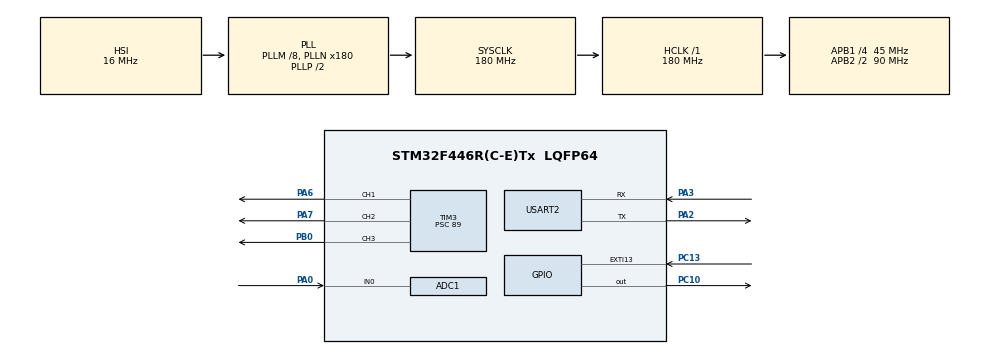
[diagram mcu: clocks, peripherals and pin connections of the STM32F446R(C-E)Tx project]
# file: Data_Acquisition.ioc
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ADC1.Channel-0\#ChannelRegularConversion=ADC_CHANNEL_0
ADC1.NbrOfConversionFlag=1
ADC1.Rank-0\#ChannelRegularConversion=1
ADC1.SamplingTime-0\#ChannelRegularConversion=ADC_SAMPLETIME_3CYCLES
ADC1.master=1
Mcu.Family=STM32F4
Mcu.Name=STM32F446R(C-E)Tx
Mcu.Package=LQFP64
NVIC.EXTI15_10_IRQn=true\:0\:0\:false\:false\:true\:true\:true\:true
NVIC.PriorityGroup=NVIC_PRIORITYGROUP_4
NVIC.TIM2_IRQn=true\:0\:0\:false\:false\:true\:true\:true\:true
NVIC.USART2_IRQn=true\:0\:0\:false\:false\:true\:true\:true\:true
PA0-WKUP.Signal=ADCx_IN0
PA2.Mode=Asynchronous
PA2.Signal=USART2_TX
PA3.Mode=Asynchronous
PA3.Signal=USART2_RX
PA6.Signal=S_TIM3_CH1
PA7.Signal=S_TIM3_CH2
PB0.Signal=S_TIM3_CH3
PC10.GPIO_ModeDefaultOutputPP=GPIO_MODE_OUTPUT_OD
PC10.GPIO_PuPd=GPIO_PULLUP
PC10.Signal=GPIO_Output
PC13.GPIO_ModeDefaultEXTI=GPIO_MODE_IT_FALLING
PC13.GPIO_PuPd=GPIO_PULLUP
PC13.Signal=GPXTI13
ProjectManager.HeapSize=0x200
ProjectManager.StackSize=0x400
ProjectManager.TargetToolchain=STM32CubeIDE
RCC.AHBFreq_Value=180000000
RCC.APB1CLKDivider=RCC_HCLK_DIV4
RCC.APB1Freq_Value=45000000
RCC.APB1TimFreq_Value=90000000
RCC.APB2CLKDivider=RCC_HCLK_DIV2
RCC.APB2Freq_Value=90000000
RCC.APB2TimFreq_Value=180000000
RCC.CortexFreq_Value=180000000
RCC.HCLKFreq_Value=180000000
RCC.PLLM=8
RCC.PLLN=180
RCC.SYSCLKFreq_VALUE=180000000
RCC.SYSCLKSource=RCC_SYSCLKSOURCE_PLLCLK
RCC.USBFreq_Value=180000000
RCC.VCOOutputFreq_Value=360000000
SH.ADCx_IN0.0=ADC1_IN0,IN0
SH.S_TIM3_CH1.0=TIM3_CH1,PWM Generation1 CH1
SH.S_TIM3_CH2.0=TIM3_CH2,PWM Generation2 CH2
SH.S_TIM3_CH3.0=TIM3_CH3,PWM Generation3 CH3
TIM2.Period=9999
TIM2.Prescaler=8999
TIM3.Channel-PWM\ Generation1\ CH1=TIM_CHANNEL_1
TIM3.Channel-PWM\ Generation2\ CH2=TIM_CHANNEL_2
TIM3.Channel-PWM\ Generation3\ CH3=TIM_CHANNEL_3
TIM3.Prescaler=89
TIM5.Prescaler=89
USART2.VirtualMode=VM_ASYNC
VP_TIM2_VS_ClockSourceINT.Mode=Internal
VP_TIM3_VS_ClockSourceINT.Mode=Internal
VP_TIM5_VS_ClockSourceINT.Mode=Internal
board=custom

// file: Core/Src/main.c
/* USER CODE BEGIN Header */
/**
  ******************************************************************************
  * @file           : main.c
  * @brief          : Main program body
  ******************************************************************************
  * @attention
  *
  * Copyright (c) 2026 STMicroelectronics.
  * All rights reserved.
  *
  * This software is licensed under terms that can be found in the LICENSE file
  * in the root directory of this software component.
  * If no LICENSE file comes with this software, it is provided AS-IS.
  *
  ******************************************************************************
  */
/* USER CODE END Header */
#include "main.h"
#include "DHT11.h"
#include <stdio.h>
#include <string.h>

/* USER CODE BEGIN PTD */
//LED operating modes
typedef enum
{
	WHITE, RED, GREEN, BLUE
}LED_Mode;

volatile LED_Mode mode = WHITE;

const char *modeNames[] =
{
    "WHITE",
	"RED",
    "GREEN",
    "BLUE"
};

typedef enum
{
	LIGHT_MODE, TEMP_MODE
}System_Mode;

volatile System_Mode systemMode= LIGHT_MODE;

const char *systemName[] =
{
		"LIGHT",
		"TEMP"
};
/* USER CODE END PTD */

ADC_HandleTypeDef hadc1;

TIM_HandleTypeDef htim2;
TIM_HandleTypeDef htim3;
TIM_HandleTypeDef htim5;

UART_HandleTypeDef huart2;

DHT11_HandleTypeDef hdht11;

void SystemClock_Config(void);
static void MX_GPIO_Init(void);
static void MX_ADC1_Init(void);
static void MX_TIM2_Init(void);
static void MX_TIM3_Init(void);
static void MX_USART2_UART_Init(void);
static void MX_TIM5_Init(void);
/* USER CODE BEGIN PFP */
char msg[100];
uint8_t temperature = 0, humidity = 0;
static uint8_t dhtCounter = 0;
volatile uint8_t sampleFlag = 0;
uint32_t adcValue = 0, duty = 0, time_ms = 0;
char rxData;
/* USER CODE END PFP */

/* USER CODE BEGIN 0 */
void HAL_UART_RxCpltCallback(UART_HandleTypeDef *huart)
{
	if(huart->Instance == USART2)
	{
		if(rxData == 'l')
				systemMode = LIGHT_MODE;
			else if(rxData == 't')
				systemMode = TEMP_MODE;
			else{
				sprintf(msg, "Only t or l\r\n");
				HAL_UART_Transmit(&huart2, (uint8_t*)msg, strlen(msg), HAL_MAX_DELAY);
			}

		HAL_UART_Receive_IT(&huart2, (uint8_t*)&rxData, 1);
	}
}

void HAL_TIM_PeriodElapsedCallback(TIM_HandleTypeDef *htim)
{
	if(htim->Instance == TIM2)
	{
		dhtCounter++;

		//Read LDR Value
		HAL_ADC_Start(&hadc1);
		HAL_ADC_PollForConversion(&hadc1, HAL_MAX_DELAY);
		adcValue = HAL_ADC_GetValue(&hadc1);
		HAL_ADC_Stop(&hadc1);

		//Convert ADC Reading to PWM duty cycle
		duty = 9999 - ((4095 - adcValue)*9999) /4095;

		//Update RGB LED based on selected mode
		if(systemMode == LIGHT_MODE){
			switch(mode)
			{
			case WHITE:
		  		    __HAL_TIM_SET_COMPARE(&htim3, TIM_CHANNEL_1, duty);
		  		    __HAL_TIM_SET_COMPARE(&htim3, TIM_CHANNEL_2, duty);
		  		    __HAL_TIM_SET_COMPARE(&htim3, TIM_CHANNEL_3, duty);
		  		    break;

			case RED:
		  		    __HAL_TIM_SET_COMPARE(&htim3, TIM_CHANNEL_1, duty);
		  		    __HAL_TIM_SET_COMPARE(&htim3, TIM_CHANNEL_2, 0);
		  		    __HAL_TIM_SET_COMPARE(&htim3, TIM_CHANNEL_3, 0);
		  		    break;

			case GREEN:
		  		    __HAL_TIM_SET_COMPARE(&htim3, TIM_CHANNEL_1, 0);
		  		    __HAL_TIM_SET_COMPARE(&htim3, TIM_CHANNEL_2, duty);
		  		    __HAL_TIM_SET_COMPARE(&htim3, TIM_CHANNEL_3, 0);
		  		    break;

			case BLUE:
		  		    __HAL_TIM_SET_COMPARE(&htim3, TIM_CHANNEL_1, 0);
		  		    __HAL_TIM_SET_COMPARE(&htim3, TIM_CHANNEL_2, 0);
		  		    __HAL_TIM_SET_COMPARE(&htim3, TIM_CHANNEL_3, duty);
		  		    break;
			}
		}

		if(dhtCounter >= 10){
			dhtCounter = 0;
			sampleFlag = 1;
		}
	}
}

void HAL_GPIO_EXTI_Callback(uint16_t GPIO_Pin)
{
	static uint32_t lastPress = 0;

	//Change LED operation mode on button press
	if(GPIO_Pin == GPIO_PIN_13)
	{
		//Software debounce to avoid multiple triggers
		if(HAL_GetTick() - lastPress > 999){

		lastPress = HAL_GetTick();
		mode++;

		if(mode > BLUE)
			mode = WHITE;
		}
	}
}
/* USER CODE END 0 */

int main(void)
{

  /* MCU Configuration--------------------------------------------------------*/

  /* Reset of all peripherals, Initializes the Flash interface and the Systick. */
  HAL_Init();

  /* Configure the system clock */
  SystemClock_Config();

  /* Initialize all configured peripherals */
  MX_GPIO_Init();
  MX_ADC1_Init();
  MX_TIM2_Init();
  MX_TIM3_Init();
  MX_USART2_UART_Init();
  MX_TIM5_Init();
  /* USER CODE BEGIN 2 */
  //Start periodic timer interrupt
  HAL_TIM_Base_Start_IT(&htim2);

  DHT11_Init(&hdht11, &htim5, GPIOC, GPIO_PIN_10);

  //Start PWM generation for RGB LED
  HAL_TIM_PWM_Start(&htim3, TIM_CHANNEL_1);
  HAL_TIM_PWM_Start(&htim3, TIM_CHANNEL_2);
  HAL_TIM_PWM_Start(&htim3, TIM_CHANNEL_3);

  __HAL_TIM_SET_COMPARE(&htim3, TIM_CHANNEL_1, 0);
  __HAL_TIM_SET_COMPARE(&htim3, TIM_CHANNEL_2, 0);
  __HAL_TIM_SET_COMPARE(&htim3, TIM_CHANNEL_3, 0);
  /* USER CODE END 2 */
  char options[100];
  sprintf(options, "Light(l) or temperature(t)?\r\n");
  HAL_UART_Transmit(&huart2, (uint8_t*)options, strlen(options), HAL_MAX_DELAY);
  HAL_UART_Receive_IT(&huart2, (uint8_t*)&rxData, 1);

  char header[] = "Time(ms),Light Intensity,Duty Cycle,Temperature(C),Humidity(%),System Mode,Light Colour\r\n";
  HAL_UART_Transmit(&huart2, (uint8_t*)header, strlen(header), HAL_MAX_DELAY);
  /* Infinite loop */
  /* USER CODE BEGIN WHILE */
  while (1)
  {
	  if(sampleFlag == 1)
	  {
		  sampleFlag = 0;
		    //Send sensor readings over UART for monitoring
	  		DHT11_Read(&hdht11, &temperature, &humidity);

	  		if(systemMode == TEMP_MODE)
	  		{
	  			if(temperature <= 18){
	  	  			__HAL_TIM_SET_COMPARE(&htim3, TIM_CHANNEL_1, 0);
	  	  			__HAL_TIM_SET_COMPARE(&htim3, TIM_CHANNEL_2, 0);
	  	  			__HAL_TIM_SET_COMPARE(&htim3, TIM_CHANNEL_3, 9999);
	  	  		}
	  	  		else if(temperature >= 30){
	  	  			__HAL_TIM_SET_COMPARE(&htim3, TIM_CHANNEL_1, 9999);
	  	  			__HAL_TIM_SET_COMPARE(&htim3, TIM_CHANNEL_2, 0);
	  	  	        __HAL_TIM_SET_COMPARE(&htim3, TIM_CHANNEL_3, 0);
	  	  		}
	  	  		else{
	  	  			uint32_t colour_red = ((temperature - 18)*9999)/12;
	  	  			uint32_t colour_blue = 9999 - colour_red;

	  	  			__HAL_TIM_SET_COMPARE(&htim3, TIM_CHANNEL_1, colour_red);
	  	  			__HAL_TIM_SET_COMPARE(&htim3, TIM_CHANNEL_2, 0);
	  	  			__HAL_TIM_SET_COMPARE(&htim3, TIM_CHANNEL_3, colour_blue);
	  	  		}
	  		    sprintf(msg, "%lu,%lu,%lu,%d,%d,%s,-\r\n", time_ms, adcValue, duty, temperature, humidity, systemName[systemMode]);
	  		}
	  		else
	  		{
	  		    sprintf(msg, "%lu,%lu,%lu,%d,%d,%s,%s\r\n", time_ms, adcValue, duty, temperature, humidity, systemName[systemMode],modeNames[mode]);
	  		}

	  		HAL_UART_Transmit(&huart2, (uint8_t*)msg, strlen(msg), HAL_MAX_DELAY);

	  		time_ms += 1000;
	  		/* USER CODE END WHILE */
	  }
  }
}

void SystemClock_Config(void)
{
  RCC_OscInitTypeDef RCC_OscInitStruct = {0};
  RCC_ClkInitTypeDef RCC_ClkInitStruct = {0};

  /** Configure the main internal regulator output voltage
  */
  __HAL_RCC_PWR_CLK_ENABLE();
  __HAL_PWR_VOLTAGESCALING_CONFIG(PWR_REGULATOR_VOLTAGE_SCALE1);

  /** Initializes the RCC Oscillators according to the specified parameters
  * in the RCC_OscInitTypeDef structure.
  */
  RCC_OscInitStruct.OscillatorType = RCC_OSCILLATORTYPE_HSI;
  RCC_OscInitStruct.HSIState = RCC_HSI_ON;
  RCC_OscInitStruct.HSICalibrationValue = RCC_HSICALIBRATION_DEFAULT;
  RCC_OscInitStruct.PLL.PLLState = RCC_PLL_ON;
  RCC_OscInitStruct.PLL.PLLSource = RCC_PLLSOURCE_HSI;
  RCC_OscInitStruct.PLL.PLLM = 8;
  RCC_OscInitStruct.PLL.PLLN = 180;
  RCC_OscInitStruct.PLL.PLLP = RCC_PLLP_DIV2;
  RCC_OscInitStruct.PLL.PLLQ = 2;
  RCC_OscInitStruct.PLL.PLLR = 2;
  if (HAL_RCC_OscConfig(&RCC_OscInitStruct) != HAL_OK)
  {
    Error_Handler();
  }

  /** Activate the Over-Drive mode
  */
  if (HAL_PWREx_EnableOverDrive() != HAL_OK)
  {
    Error_Handler();
  }

  /** Initializes the CPU, AHB and APB buses clocks
  */
  RCC_ClkInitStruct.ClockType = RCC_CLOCKTYPE_HCLK|RCC_CLOCKTYPE_SYSCLK
                              |RCC_CLOCKTYPE_PCLK1|RCC_CLOCKTYPE_PCLK2;
  RCC_ClkInitStruct.SYSCLKSource = RCC_SYSCLKSOURCE_PLLCLK;
  RCC_ClkInitStruct.AHBCLKDivider = RCC_SYSCLK_DIV1;
  RCC_ClkInitStruct.APB1CLKDivider = RCC_HCLK_DIV4;
  RCC_ClkInitStruct.APB2CLKDivider = RCC_HCLK_DIV2;

  if (HAL_RCC_ClockConfig(&RCC_ClkInitStruct, FLASH_LATENCY_5) != HAL_OK)
  {
    Error_Handler();
  }
}

static void MX_ADC1_Init(void)
{

  ADC_ChannelConfTypeDef sConfig = {0};

  /** Configure the global features of the ADC (Clock, Resolution, Data Alignment and number of conversion)
  */
  hadc1.Instance = ADC1;
  hadc1.Init.ClockPrescaler = ADC_CLOCK_SYNC_PCLK_DIV4;
  hadc1.Init.Resolution = ADC_RESOLUTION_12B;
  hadc1.Init.ScanConvMode = DISABLE;
  hadc1.Init.ContinuousConvMode = DISABLE;
  hadc1.Init.DiscontinuousConvMode = DISABLE;
  hadc1.Init.ExternalTrigConvEdge = ADC_EXTERNALTRIGCONVEDGE_NONE;
  hadc1.Init.ExternalTrigConv = ADC_SOFTWARE_START;
  hadc1.Init.DataAlign = ADC_DATAALIGN_RIGHT;
  hadc1.Init.NbrOfConversion = 1;
  hadc1.Init.DMAContinuousRequests = DISABLE;
  hadc1.Init.EOCSelection = ADC_EOC_SINGLE_CONV;
  if (HAL_ADC_Init(&hadc1) != HAL_OK)
  {
    Error_Handler();
  }

  /** Configure for the selected ADC regular channel its corresponding rank in the sequencer and its sample time.
  */
  sConfig.Channel = ADC_CHANNEL_0;
  sConfig.Rank = 1;
  sConfig.SamplingTime = ADC_SAMPLETIME_3CYCLES;
  if (HAL_ADC_ConfigChannel(&hadc1, &sConfig) != HAL_OK)
  {
    Error_Handler();
  }

}

static void MX_TIM2_Init(void)
{

  TIM_ClockConfigTypeDef sClockSourceConfig = {0};
  TIM_MasterConfigTypeDef sMasterConfig = {0};

  htim2.Instance = TIM2;
  htim2.Init.Prescaler = 8999;
  htim2.Init.CounterMode = TIM_COUNTERMODE_UP;
  htim2.Init.Period = 999;
  htim2.Init.ClockDivision = TIM_CLOCKDIVISION_DIV1;
  htim2.Init.AutoReloadPreload = TIM_AUTORELOAD_PRELOAD_DISABLE;
  if (HAL_TIM_Base_Init(&htim2) != HAL_OK)
  {
    Error_Handler();
  }
  sClockSourceConfig.ClockSource = TIM_CLOCKSOURCE_INTERNAL;
  if (HAL_TIM_ConfigClockSource(&htim2, &sClockSourceConfig) != HAL_OK)
  {
    Error_Handler();
  }
  sMasterConfig.MasterOutputTrigger = TIM_TRGO_RESET;
  sMasterConfig.MasterSlaveMode = TIM_MASTERSLAVEMODE_DISABLE;
  if (HAL_TIMEx_MasterConfigSynchronization(&htim2, &sMasterConfig) != HAL_OK)
  {
    Error_Handler();
  }

}

static void MX_TIM3_Init(void)
{

  TIM_ClockConfigTypeDef sClockSourceConfig = {0};
  TIM_MasterConfigTypeDef sMasterConfig = {0};
  TIM_OC_InitTypeDef sConfigOC = {0};

  htim3.Instance = TIM3;
  htim3.Init.Prescaler = 89;
  htim3.Init.CounterMode = TIM_COUNTERMODE_UP;
  htim3.Init.Period = 9999;
  htim3.Init.ClockDivision = TIM_CLOCKDIVISION_DIV1;
  htim3.Init.AutoReloadPreload = TIM_AUTORELOAD_PRELOAD_DISABLE;
  if (HAL_TIM_Base_Init(&htim3) != HAL_OK)
  {
    Error_Handler();
  }
  sClockSourceConfig.ClockSource = TIM_CLOCKSOURCE_INTERNAL;
  if (HAL_TIM_ConfigClockSource(&htim3, &sClockSourceConfig) != HAL_OK)
  {
    Error_Handler();
  }
  if (HAL_TIM_PWM_Init(&htim3) != HAL_OK)
  {
    Error_Handler();
  }
  sMasterConfig.MasterOutputTrigger = TIM_TRGO_RESET;
  sMasterConfig.MasterSlaveMode = TIM_MASTERSLAVEMODE_DISABLE;
  if (HAL_TIMEx_MasterConfigSynchronization(&htim3, &sMasterConfig) != HAL_OK)
  {
    Error_Handler();
  }
  sConfigOC.OCMode = TIM_OCMODE_PWM1;
  sConfigOC.Pulse = 0;
  sConfigOC.OCPolarity = TIM_OCPOLARITY_HIGH;
  sConfigOC.OCFastMode = TIM_OCFAST_DISABLE;
  if (HAL_TIM_PWM_ConfigChannel(&htim3, &sConfigOC, TIM_CHANNEL_1) != HAL_OK)
  {
    Error_Handler();
  }
  if (HAL_TIM_PWM_ConfigChannel(&htim3, &sConfigOC, TIM_CHANNEL_2) != HAL_OK)
  {
    Error_Handler();
  }
  if (HAL_TIM_PWM_ConfigChannel(&htim3, &sConfigOC, TIM_CHANNEL_3) != HAL_OK)
  {
    Error_Handler();
  }
  HAL_TIM_MspPostInit(&htim3);

}

static void MX_TIM5_Init(void)
{

  TIM_ClockConfigTypeDef sClockSourceConfig = {0};
  TIM_MasterConfigTypeDef sMasterConfig = {0};

  htim5.Instance = TIM5;
  htim5.Init.Prescaler = 89;
  htim5.Init.CounterMode = TIM_COUNTERMODE_UP;
  htim5.Init.Period = 4294967295;
  htim5.Init.ClockDivision = TIM_CLOCKDIVISION_DIV1;
  htim5.Init.AutoReloadPreload = TIM_AUTORELOAD_PRELOAD_DISABLE;
  if (HAL_TIM_Base_Init(&htim5) != HAL_OK)
  {
    Error_Handler();
  }
  sClockSourceConfig.ClockSource = TIM_CLOCKSOURCE_INTERNAL;
  if (HAL_TIM_ConfigClockSource(&htim5, &sClockSourceConfig) != HAL_OK)
  {
    Error_Handler();
  }
  sMasterConfig.MasterOutputTrigger = TIM_TRGO_RESET;
  sMasterConfig.MasterSlaveMode = TIM_MASTERSLAVEMODE_DISABLE;
  if (HAL_TIMEx_MasterConfigSynchronization(&htim5, &sMasterConfig) != HAL_OK)
  {
    Error_Handler();
  }

}

static void MX_USART2_UART_Init(void)
{

  huart2.Instance = USART2;
  huart2.Init.BaudRate = 115200;
  huart2.Init.WordLength = UART_WORDLENGTH_8B;
  huart2.Init.StopBits = UART_STOPBITS_1;
  huart2.Init.Parity = UART_PARITY_NONE;
  huart2.Init.Mode = UART_MODE_TX_RX;
  huart2.Init.HwFlowCtl = UART_HWCONTROL_NONE;
  huart2.Init.OverSampling = UART_OVERSAMPLING_16;
  if (HAL_UART_Init(&huart2) != HAL_OK)
  {
    Error_Handler();
  }

}

static void MX_GPIO_Init(void)
{
  GPIO_InitTypeDef GPIO_InitStruct = {0};

  /* GPIO Ports Clock Enable */
  __HAL_RCC_GPIOC_CLK_ENABLE();
  __HAL_RCC_GPIOA_CLK_ENABLE();
  __HAL_RCC_GPIOB_CLK_ENABLE();

  /*Configure GPIO pin Output Level */
  HAL_GPIO_WritePin(GPIOC, GPIO_PIN_10, GPIO_PIN_RESET);

  /*Configure GPIO pin : PC13 */
  GPIO_InitStruct.Pin = GPIO_PIN_13;
  GPIO_InitStruct.Mode = GPIO_MODE_IT_FALLING;
  GPIO_InitStruct.Pull = GPIO_PULLUP;
  HAL_GPIO_Init(GPIOC, &GPIO_InitStruct);

  /*Configure GPIO pin : PC10 */
  GPIO_InitStruct.Pin = GPIO_PIN_10;
  GPIO_InitStruct.Mode = GPIO_MODE_OUTPUT_OD;
  GPIO_InitStruct.Pull = GPIO_PULLUP;
  GPIO_InitStruct.Speed = GPIO_SPEED_FREQ_LOW;
  HAL_GPIO_Init(GPIOC, &GPIO_InitStruct);

  /* EXTI interrupt init*/
  HAL_NVIC_SetPriority(EXTI15_10_IRQn, 0, 0);
  HAL_NVIC_EnableIRQ(EXTI15_10_IRQn);

}

void Error_Handler(void)
{
  __disable_irq();
  while (1)
  {
  }
}
